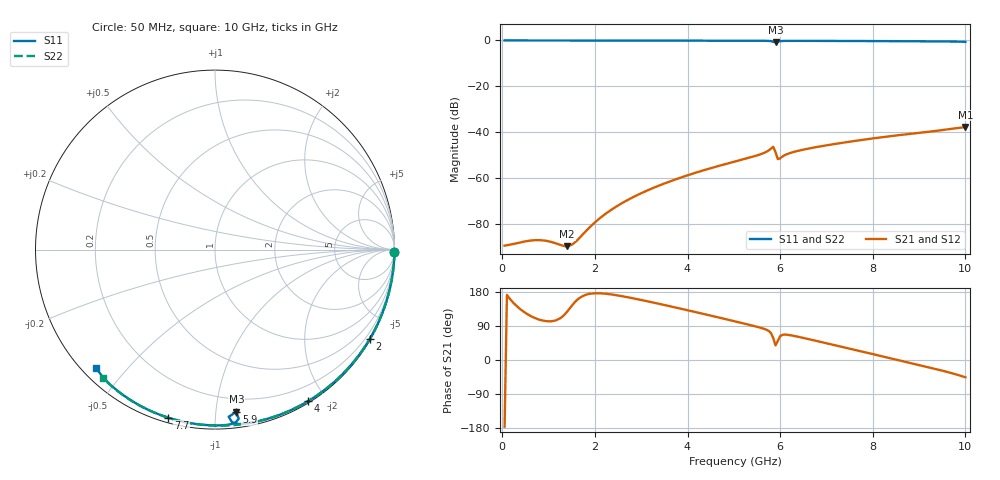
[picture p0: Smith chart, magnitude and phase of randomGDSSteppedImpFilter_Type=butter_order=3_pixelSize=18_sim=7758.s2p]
! freq	dB(S11)	phase(S11)	dB(S12)	phase(S12)
!  dB(S21)	phase(S21)	dB(S22)	phase(S22)
!S-par simulation data
#  GHz  S  DB  R 50
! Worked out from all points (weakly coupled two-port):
!   200 points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, 50 MHz to 10 GHz, reference 50 ohm
!   highest |S21| = -37.82 dB at 10 GHz (marker M1); lowest = -89.9 dB at 1.4 GHz (marker M2)
!   lowest |S11| = -0.8 dB at 5.9 GHz (marker M3), VSWR 21.57, Z = 5.32 - j56.8 ohm
!   |S11| at or under -10 dB: nowhere
!   |S22| runs from -0.4 to 0.0 dB; largest |S21 - S12| = 0
!   S11 on the Smith chart (normalised r, x): 50 MHz: open; 2 GHz: 0.03, -3.73; 4 GHz: 0.02, -1.78; 5.9 GHz: 0.11, -1.14; 7.7 GHz: 0.02, -0.76; 10 GHz: 0.04, -0.41
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0.05  -0.00 -0.8  -89.64 -176.0  -89.64 -176.0  -0.00 -0.8
1.4  -0.03 -21.1  -89.87 127.6  -89.87 127.6  -0.03 -21.0
1.75  -0.03 -26.3  -84.46 169.5  -84.46 169.5  -0.03 -26.1
1.95  -0.04 -29.3  -80.40 175.7  -80.40 175.7  -0.04 -29.1
2  -0.04 -30.0  -79.49 176.1  -79.49 176.1  -0.04 -29.8
2.25  -0.04 -33.7  -75.42 174.6  -75.42 174.6  -0.04 -33.4
2.55  -0.05 -38.0  -71.47 169.2  -71.47 169.2  -0.05 -37.7
2.95  -0.06 -43.8  -67.21 159.7  -67.21 159.7  -0.06 -43.4
3.4  -0.07 -50.2  -63.27 147.9  -63.27 147.9  -0.07 -49.8
4  -0.08 -58.5  -58.91 131.4  -58.91 131.4  -0.08 -58.0
5.05  -0.11 -72.8  -52.74 101.2  -52.74 101.2  -0.11 -72.0
5.6  -0.14 -80.4  -49.56 84.3  -49.56 84.3  -0.13 -79.1
5.75  -0.20 -83.1  -48.05 76.9  -48.05 76.9  -0.14 -81.0
5.85  -0.59 -85.3  -46.47 58.2  -46.47 58.2  -0.14 -82.3
5.9  -0.81 -82.5  -48.79 38.5  -48.79 38.5  -0.14 -82.9
5.95  -0.42 -82.0  -51.85 51.0  -51.85 51.0  -0.14 -83.6
6.2  -0.18 -86.6  -49.28 65.9  -49.28 65.9  -0.16 -86.7
6.7  -0.19 -93.2  -46.89 52.7  -46.89 52.7  -0.18 -92.8
7.7  -0.25 -105.6  -43.64 24.2  -43.64 24.2  -0.24 -104.8
8.35  -0.30 -113.3  -41.89 5.4  -41.89 5.4  -0.29 -112.4
9.4  -0.41 -126.1  -39.42 -25.1  -39.42 -25.1  -0.38 -124.4
10  -0.60 -135.1  -37.82 -45.6  -37.82 -45.6  -0.44 -131.1
